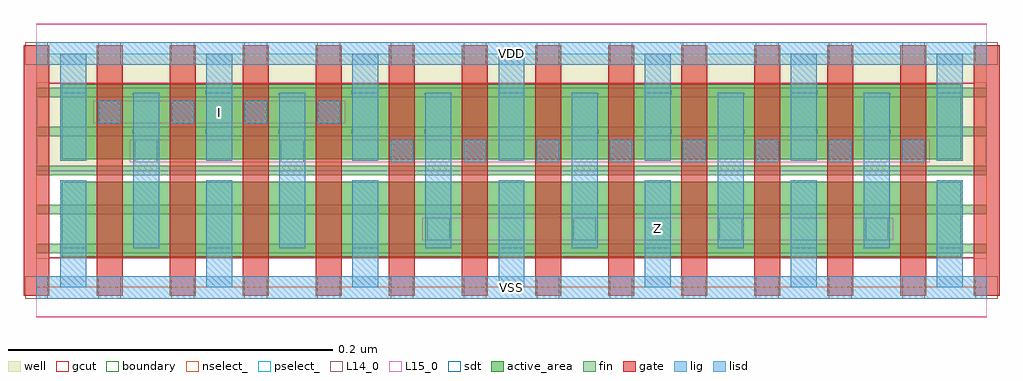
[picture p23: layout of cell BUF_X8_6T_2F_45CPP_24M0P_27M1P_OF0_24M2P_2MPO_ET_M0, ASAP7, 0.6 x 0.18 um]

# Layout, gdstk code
import gdstk
lib = gdstk.Library(unit=1e-6, precision=2.5e-10)
def R(c, l, rs):  # rectangles x0, y0, x1, y1
    for r in rs: c.add(gdstk.rectangle(r[:2], r[2:], *l))
def A(c, l, x, y, w, h, nx, ny, dx, dy):  # array of equal rectangles
    R(c, l, [(x+i*dx, y+j*dy, x+i*dx+w, y+j*dy+h) for i in range(nx) for j in range(ny)])
well = (1, 0)
fin = (2, 0)
gate = (7, 0)
gcut = (10, 0)
active_area = (11, 0)
nselect_ = (12, 0)
pselect_ = (13, 0)
L14_0 = (14, 0)
L15_0 = (15, 0)
lig = (16, 0)
lisd = (17, 0)
sdt = (88, 0)
boundary = (100, 0)

buf_x8_6t_2f_45cpp_24m0p = lib.new_cell('BUF_X8_6T_2F_45CPP_24M0P_27M1P_OF0_24M2P_2MPO_ET_M0')
R(buf_x8_6t_2f_45cpp_24m0p, well, [(0,0.072,0.585,0.144)])
A(buf_x8_6t_2f_45cpp_24m0p, fin, 0, 0.021, 0.585, 0.006, 1, 5, 0, 0.024)
A(buf_x8_6t_2f_45cpp_24m0p, gate, -0.008, -0.005, 0.016, 0.154, 14, 1, 0.045, 0)
R(buf_x8_6t_2f_45cpp_24m0p, gcut, [(0,-0.0185,0.585,0.0185), (-0.008,-0.005,0.008,0.149), (0.577,-0.005,0.593,0.149), (0,0.1255,0.585,0.1625)])
R(buf_x8_6t_2f_45cpp_24m0p, active_area, [(0.0155,0.019,0.2095,0.065), (0.1955,0.019,0.5695,0.065), (0.0155,0.079,0.2095,0.125), (0.1955,0.079,0.5695,0.125)])
R(buf_x8_6t_2f_45cpp_24m0p, nselect_, [(0,0,0.585,0.072)])
R(buf_x8_6t_2f_45cpp_24m0p, pselect_, [(0,0.072,0.585,0.144)])
A(buf_x8_6t_2f_45cpp_24m0p, L14_0, -0.007, -0.007, 0.014, 0.014, 14, 2, 0.045, 0.144)
A(buf_x8_6t_2f_45cpp_24m0p, L14_0, 0.2405, 0.029, 0.014, 0.014, 4, 1, 0.09, 0)
A(buf_x8_6t_2f_45cpp_24m0p, L14_0, 0.218, 0.077, 0.014, 0.014, 8, 1, 0.045, 0)
A(buf_x8_6t_2f_45cpp_24m0p, L14_0, 0.038, 0.101, 0.014, 0.014, 4, 1, 0.045, 0)
R(buf_x8_6t_2f_45cpp_24m0p, L14_0, [(0.0605,0.077,0.0745,0.091), (0.1505,0.077,0.1645,0.091)])
R(buf_x8_6t_2f_45cpp_24m0p, L15_0, [(0,-0.018,0.585,0.018), (0.2375,0.029,0.5275,0.043), (0.0575,0.077,0.55,0.091), (0.035,0.101,0.19,0.115), (0,0.126,0.585,0.162)])
A(buf_x8_6t_2f_45cpp_24m0p, lig, 0.218, 0.077, 0.014, 0.014, 8, 1, 0.045, 0)
A(buf_x8_6t_2f_45cpp_24m0p, lig, 0.038, 0.101, 0.014, 0.014, 4, 1, 0.045, 0)
R(buf_x8_6t_2f_45cpp_24m0p, lig, [(0,-0.007,0.585,0.007), (0,0.137,0.585,0.151)])
A(buf_x8_6t_2f_45cpp_24m0p, lisd, 0.0145, 0, 0.016, 0.066, 7, 2, 0.09, 0.078)
A(buf_x8_6t_2f_45cpp_24m0p, lisd, 0.0595, 0.024, 0.016, 0.096, 6, 1, 0.09, 0)
A(buf_x8_6t_2f_45cpp_24m0p, sdt, 0.0145, 0.024, 0.016, 0.042, 7, 2, 0.09, 0.054)
A(buf_x8_6t_2f_45cpp_24m0p, sdt, 0.0595, 0.024, 0.016, 0.096, 6, 1, 0.09, 0)
R(buf_x8_6t_2f_45cpp_24m0p, boundary, [(0,0,0.585,0.144)])
buf_x8_6t_2f_45cpp_24m0p.add(gdstk.Label('I', (0.1125,0.108), layer=15, texttype=251))
buf_x8_6t_2f_45cpp_24m0p.add(gdstk.Label('Z', (0.3825,0.036), layer=15, texttype=251))
buf_x8_6t_2f_45cpp_24m0p.add(gdstk.Label('VDD', (0.2925,0.144), layer=15, texttype=251))
buf_x8_6t_2f_45cpp_24m0p.add(gdstk.Label('VSS', (0.2925,0), layer=15, texttype=251))
buf_x8_6t_2f_45cpp_24m0p.add(gdstk.Label('VDD', (0.2925,0.144), layer=1, texttype=251))
buf_x8_6t_2f_45cpp_24m0p.add(gdstk.Label('VSS', (0.2925,0), layer=3, texttype=251))

lib.write_gds('BUF_X8_6T_2F_45CPP_24M0P_27M1P_OF0_24M2P_2MPO_ET_M0.gds')
